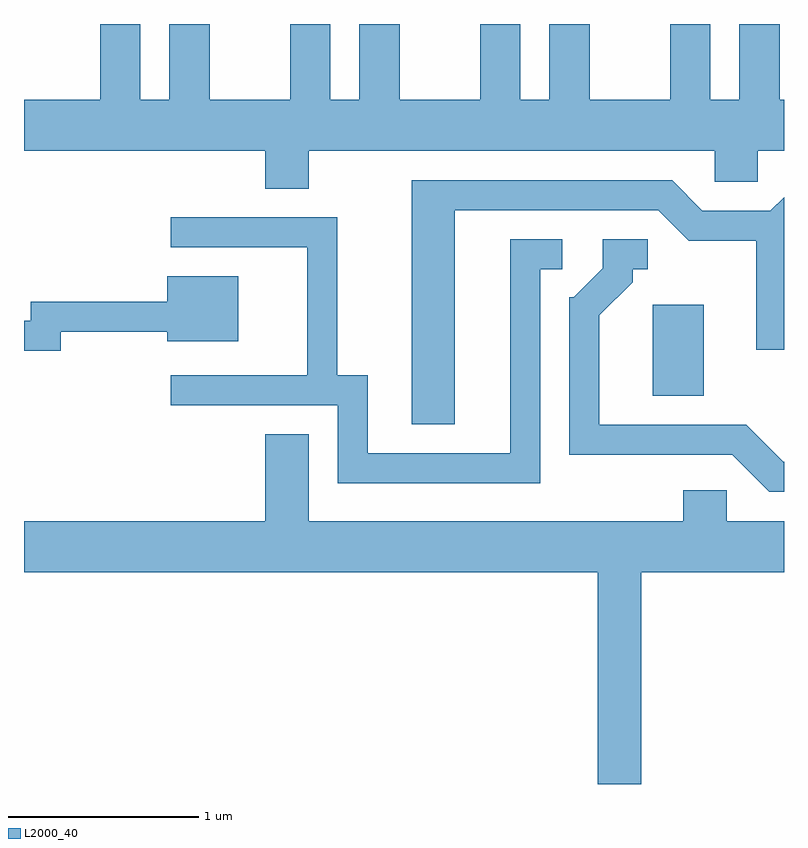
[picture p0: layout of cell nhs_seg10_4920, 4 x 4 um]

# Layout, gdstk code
import gdstk
lib = gdstk.Library(unit=1e-6, precision=1e-09)
def R(c, l, rs):  # rectangles x0, y0, x1, y1
    for r in rs: c.add(gdstk.rectangle(r[:2], r[2:], *l))
def P(c, l, *ps):  # polygons
    for p in ps: c.add(gdstk.Polygon(p, *l))
L2000_40 = (2000, 40)

nhs_seg10_4920 = lib.new_cell('nhs_seg10_4920')
R(nhs_seg10_4920, L2000_40, [(332.921,2172.566,333.189,2173.044)])
P(nhs_seg10_4920, L2000_40, [(331.109,2173.856),(333.246,2173.856),(333.246,2173.691),(333.474,2173.691),(333.474,2173.856),(333.611,2173.856),(333.611,2174.124),(333.589,2174.124),(333.589,2174.522),(333.376,2174.522),(333.376,2174.124),(333.224,2174.124),(333.224,2174.522),(333.011,2174.522),(333.011,2174.124),(332.589,2174.124),(332.589,2174.522),(332.376,2174.522),(332.376,2174.124),(332.224,2174.124),(332.224,2174.522),(332.011,2174.522),(332.011,2174.124),(331.589,2174.124),(331.589,2174.522),(331.376,2174.522),(331.376,2174.124),(331.224,2174.124),(331.224,2174.522),(331.011,2174.522),(331.011,2174.124),(330.589,2174.124),(330.589,2174.522),(330.376,2174.522),(330.376,2174.124),(330.224,2174.124),(330.224,2174.522),(330.011,2174.522),(330.011,2174.124),(329.611,2174.124),(329.611,2173.856),(330.881,2173.856),(330.881,2173.656),(331.109,2173.656)],
  [(331.879,2173.541),(332.949,2173.541),(333.109,2173.381),(333.466,2173.381),(333.466,2172.808),(333.611,2172.808),(333.611,2173.611),(333.539,2173.539),(333.182,2173.539),(333.022,2173.699),(331.651,2173.699),(331.651,2172.416),(331.879,2172.416)],
  [(332.329,2173.231),(332.443,2173.231),(332.443,2173.389),(332.171,2173.389),(332.171,2172.264),(331.419,2172.264),(331.419,2172.674),(331.259,2172.674),(331.259,2173.504),(330.383,2173.504),(330.383,2173.346),(331.101,2173.346),(331.101,2172.674),(330.383,2172.674),(330.383,2172.516),(331.261,2172.516),(331.261,2172.106),(332.329,2172.106)],
  [(333.611,2172.219),(333.607,2172.219),(333.412,2172.414),(332.639,2172.414),(332.639,2172.989),(332.814,2173.164),(332.814,2173.231),(332.893,2173.231),(332.893,2173.389),(332.656,2173.389),(332.656,2173.237),(332.504,2173.084),(332.481,2173.084),(332.481,2172.256),(333.339,2172.256),(333.534,2172.061),(333.611,2172.061)],
  [(329.804,2172.901),(330.366,2172.901),(330.366,2172.851),(330.739,2172.851),(330.739,2173.194),(330.366,2173.194),(330.366,2173.059),(329.646,2173.059),(329.646,2172.959),(329.611,2172.959),(329.611,2172.801),(329.804,2172.801)],
  [(332.859,2171.636),(333.611,2171.636),(333.611,2171.904),(333.309,2171.904),(333.309,2172.069),(333.081,2172.069),(333.081,2171.904),(331.109,2171.904),(331.109,2172.364),(330.881,2172.364),(330.881,2171.904),(329.611,2171.904),(329.611,2171.636),(332.631,2171.636),(332.631,2170.522),(332.859,2170.522)])

lib.write_gds('nhs_seg10_4920.gds')
